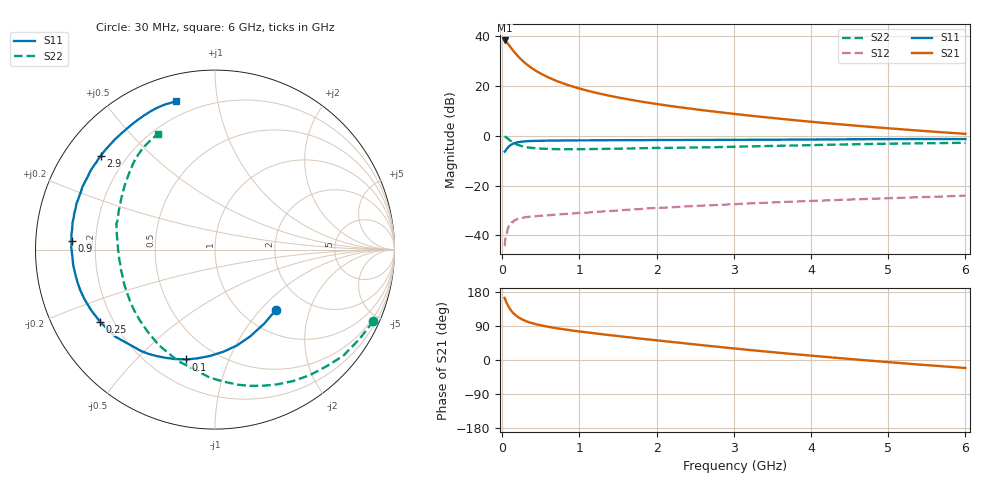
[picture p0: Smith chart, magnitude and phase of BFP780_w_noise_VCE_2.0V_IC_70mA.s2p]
! Infineon Technologies  Discrete & RF Semiconductors
! BFP780
! VCE =  2.0 V,  IC =  70 mA
! Common Emitter S-Parameters:  Jul 2015
# GHz  S  MA  R  50
!  f  S11  S21  S12  S22
! GHz  MAG  ANG  MAG  ANG  MAG  ANG  MAG  ANG
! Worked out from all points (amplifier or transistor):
!   75 points, 30 MHz to 6 GHz, reference 50 ohm
!   highest |S21| = 38.1 dB at 30 MHz (marker M1)
!   |S21| within 3 dB of that: start of sweep to 114.1 MHz
!   unconditionally stable (mu >= 1): 1.89 GHz to end of sweep
!   at 150 MHz: K = 0.15, MSG = 33.9 dB, |S12| = -34.0 dB
!   at 2.3 GHz: K = 1.10, MAG = 18.0 dB, |S12| = -28.5 dB
!   at 6 GHz: K = 1.37, MAG = 8.8 dB, |S12| = -24.0 dB
!   lowest NFmin = 1.66 dB at 450 MHz
!   S11 on the Smith chart (normalised r, x): 30 MHz: 1.40, -1.22; 100 MHz: 0.35, -0.71; 250 MHz: 0.15, -0.28; 900 MHz: 0.11, +0.03; 2.9 GHz: 0.11, +0.36; 6 GHz: 0.13, +0.76
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0.03  0.4777 -45.0  80.7 163.8  0.0061 67.3  0.9689 -24.3
0.05  0.5216 -67.9  75.86 153.6  0.0102 60.6  0.9278 -39.6
0.06  0.5474 -76.9  73.09 149.3  0.0114 61.2  0.899 -46.4
0.08  0.593 -92.6  67.09 141.2  0.0149 53.2  0.8524 -59.2
0.1  0.633 -104.9  61.06 134.6  0.016 50.0  0.8053 -70.3
0.12  0.6637 -114.8  55.58 128.9  0.0182 43.9  0.7639 -80.3
0.15  0.6989 -126.0  48.55 122.2  0.0199 39.1  0.7122 -92.6
0.2  0.7372 -138.8  39.44 113.8  0.0213 31.2  0.6531 -108.6
0.25  0.7562 -147.7  32.97 107.8  0.0223 28.7  0.6174 -120.5
0.3  0.7688 -154.2  28.08 103.1  0.0232 26.5  0.5909 -129.7
0.35  0.7776 -159.1  24.41 99.4  0.0237 24.7  0.5746 -137.0
0.5  0.7895 -169.1  17.43 91.5  0.0249 22.8  0.5486 -151.7
0.7  0.7958 -177.5  12.53 83.9  0.0262 22.0  0.5362 -163.6
0.9  0.8009 176.5  9.758 78.0  0.0274 22.4  0.5339 -171.5
1.1  0.8038 171.6  7.966 72.7  0.0286 23.4  0.5366 -177.4
1.5  0.8095 163.6  5.815 63.2  0.0316 24.3  0.5474 173.9
2.1  0.8169 153.2  4.083 49.7  0.0361 24.4  0.5661 164.0
2.9  0.8236 140.5  2.846 32.6  0.0416 22.7  0.5942 151.6
3.1  0.8257 137.6  2.626 28.5  0.0431 22.4  0.6031 148.7
4.1  0.8369 123.8  1.838 9.7  0.0498 18.6  0.6498 136.1
5.1  0.8529 112.7  1.367 -7.2  0.0564 14.2  0.692 125.5
6  0.8539 104.8  1.086 -21.1  0.0628 9.4  0.7193 116.0
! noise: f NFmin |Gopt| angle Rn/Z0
0.45  1.66  0.46  179  0.07
0.9  1.71  0.49  -169  0.08
1.5  1.77  0.51  -160  0.09
1.8  1.94  0.52  -154  0.1
2.4  2.06  0.53  -146  0.15
3  2.34  0.54  -137  0.21
3.5  2.82  0.58  -123  0.32
